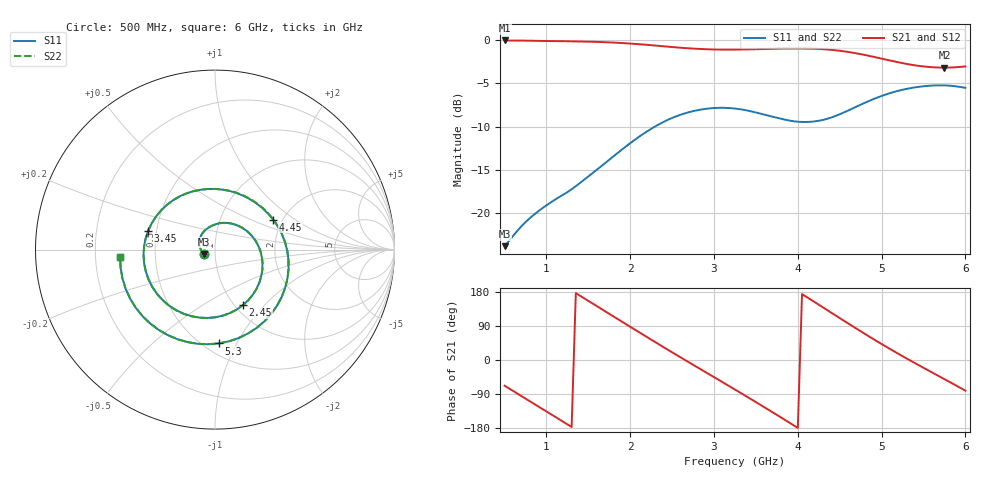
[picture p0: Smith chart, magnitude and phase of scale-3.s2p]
! Touchstone file from project sampleWidthScale-3
! Exported from HFSS-IE 2014.0.2
! Variables:
!  $perm = 6
!  impedance = 157.9ohm
!  insulationThickness = 0in
!  length = 4in
!  portSize = 1mm
!  sampleSide = 0.3875in
!  sampleThickness = 0.25in
!  scale = 3.1
!  spacing = 0.25in
!  wireDiam = 0.125in
!  wireRadius = 0.0625in
# GHZ S MA R 157.900000
! Terminal data exported
! Port[1] = Rectangle2_T1
! Port[2] = Rectangle2_T2
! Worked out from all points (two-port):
!   111 points, 500 MHz to 6 GHz, reference 157.9 ohm
!   highest |S21| = -0.02 dB at 500 MHz (marker M1); lowest = -3.2 dB at 5.75 GHz (marker M2)
!   |S21| within 3 dB of the highest: start of sweep to 5.493 GHz
!   lowest |S11| = -23.8 dB at 500 MHz (marker M3), VSWR 1.14, Z = 140 - j6.68 ohm
!   |S11| at or under -10 dB: start of sweep to 2.294 GHz
!   |S22| runs from -23.8 to -5.2 dB; largest |S21 - S12| = 2e-15
!   S11 on the Smith chart (normalised r, x): 500 MHz: 0.89, -0.04; 2.45 GHz: 1.09, -0.77; 3.45 GHz: 0.45, +0.11; 4.45 GHz: 1.79, +0.69; 5.3 GHz: 0.59, -0.85; 6 GHz: 0.31, -0.04
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0.5  0.06425 -158.3  0.9972 -68.0  0.9972 -68.0  0.06428 -158.3
0.7  0.08368 173.7  0.9951 -95.1  0.9951 -95.1  0.08382 173.9
0.9  0.1021 147.5  0.9916 -122.3  0.9916 -122.3  0.1021 147.5
1.2  0.1277 106.6  0.9874 -163.1  0.9874 -163.1  0.1278 106.7
1.45  0.1559 72.9  0.9822 162.8  0.9822 162.8  0.156 72.8
1.7  0.1945 38.4  0.9744 128.6  0.9744 128.6  0.1948 38.5
1.9  0.2328 11.1  0.9635 101.2  0.9635 101.2  0.2336 11.1
2.1  0.2751 -16.1  0.9489 73.9  0.9489 73.9  0.2762 -16.2
2.35  0.3275 -49.8  0.927 40.2  0.927 40.2  0.3281 -50.0
2.45  0.3464 -63.2  0.9178 26.9  0.9178 26.9  0.3466 -63.3
2.8  0.3933 -109.5  0.8921 -19.2  0.8921 -19.2  0.3943 -109.5
3.05  0.4061 -142.4  0.8832 -51.8  0.8832 -51.8  0.4069 -142.5
3.25  0.4023 -169.0  0.8829 -78.0  0.8829 -78.0  0.4021 -169.1
3.45  0.3868 164.1  0.8863 -104.5  0.8863 -104.5  0.3867 164.1
3.85  0.3467 110.0  0.8951 -158.6  0.8951 -158.6  0.3468 109.9
4.2  0.339 62.0  0.8921 152.9  0.8921 152.9  0.3407 62.0
4.45  0.3646 27.3  0.8749 117.7  0.8749 117.7  0.3661 27.2
4.75  0.4236 -14.7  0.8307 75.8  0.8307 75.8  0.4238 -14.7
5.1  0.4939 -62.0  0.7637 29.1  0.7637 29.1  0.4941 -62.0
5.3  0.5232 -87.8  0.7292 3.9  0.7292 3.9  0.5232 -87.8
5.75  0.5478 -143.8  0.6943 -50.6  0.6943 -50.6  0.5473 -143.9
6  0.5304 -175.5  0.7055 -81.0  0.7055 -81.0  0.5299 -175.5
